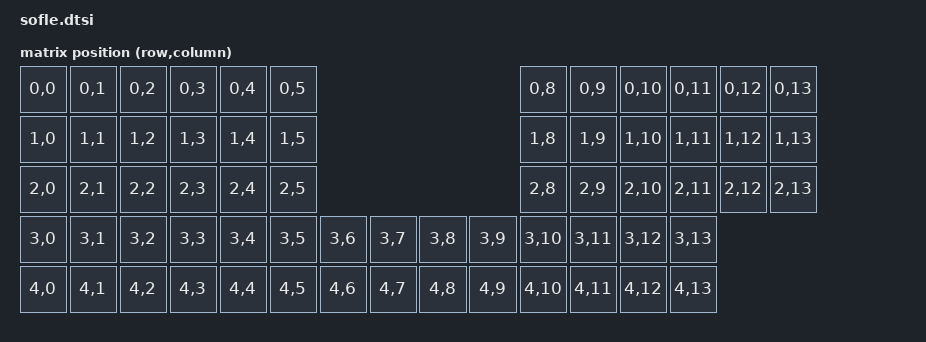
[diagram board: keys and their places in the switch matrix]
/*
 * Copyright (c) 2024 He3F
 * SPDX-License-Identifier: MIT
 *
 * Sofle split keyboard – shared base (left + right)
 *
 * Matrix layout (both halves combined, 5 rows × 14 cols):
 *
 *  Rows 0-2  – 12 keys per row; cols 6 and 7 are skipped (encoder-button
 *               positions on each half, not wired into the alpha/number rows)
 *  Rows 3-4  – 14 keys per row; all 7 cols per half are present, including
 *               the encoder-button column (col 6 left / col 7 right)
 *
 *  Left  half → physical cols 0-6   → transform cols 0-6
 *  Right half → physical cols 0-6   → transform cols 7-13 (col-offset = <7>)
 *
 * All GPIO pin lists live in the per-side overlays; this file only defines
 * the transform shape and the kscan skeleton.
 */

#include <dt-bindings/zmk/matrix_transform.h>

/ {
    chosen {
        zmk,kscan            = &kscan0;
        zmk,matrix-transform = &default_transform;
    };

    default_transform: keymap_transform_0 {
        compatible = "zmk,matrix-transform";
        columns    = <14>;
        rows       = <5>;

        /*
         * Reading order = left-to-right across the split gap, top-to-bottom.
         * Cols 6 & 7 (encoder buttons) are absent from rows 0-2.
         *
         *   L:  RC(r,0)…RC(r,5)           R:  RC(r,8)…RC(r,13)   ← rows 0-2
         *   L:  RC(r,0)…RC(r,6)  RC(r,7)…RC(r,13)                ← rows 3-4
         */
        map = <
            RC(0,0)  RC(0,1)  RC(0,2)  RC(0,3)  RC(0,4)  RC(0,5)                                   RC(0,8)  RC(0,9)  RC(0,10) RC(0,11) RC(0,12) RC(0,13)
            RC(1,0)  RC(1,1)  RC(1,2)  RC(1,3)  RC(1,4)  RC(1,5)                                   RC(1,8)  RC(1,9)  RC(1,10) RC(1,11) RC(1,12) RC(1,13)
            RC(2,0)  RC(2,1)  RC(2,2)  RC(2,3)  RC(2,4)  RC(2,5)                                   RC(2,8)  RC(2,9)  RC(2,10) RC(2,11) RC(2,12) RC(2,13)
            RC(3,0)  RC(3,1)  RC(3,2)  RC(3,3)  RC(3,4)  RC(3,5)  RC(3,6)  RC(3,7)  RC(3,8)  RC(3,9)  RC(3,10) RC(3,11) RC(3,12) RC(3,13)
            RC(4,0)  RC(4,1)  RC(4,2)  RC(4,3)  RC(4,4)  RC(4,5)  RC(4,6)  RC(4,7)  RC(4,8)  RC(4,9)  RC(4,10) RC(4,11) RC(4,12) RC(4,13)
        >;
    };

    /*
     * kscan skeleton – GPIO lists are supplied entirely by the per-side
     * overlays (sofle_left.overlay / sofle_right.overlay), so this node
     * intentionally contains only the three properties that must be fixed
     * at build time regardless of which half is compiled.
     */
    kscan0: kscan {
        compatible      = "zmk,kscan-gpio-matrix";
        label           = "KSCAN";
        diode-direction = "col2row";
    };
};
